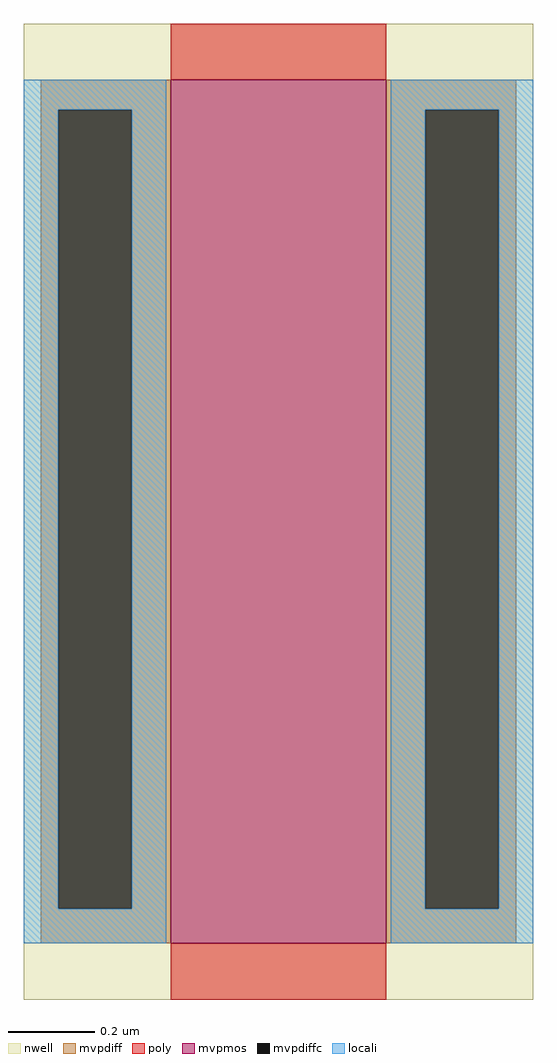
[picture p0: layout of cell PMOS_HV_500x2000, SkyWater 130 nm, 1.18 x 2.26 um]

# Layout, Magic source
magic
tech sky130A
<< nwell >>
rect -287 -21 -169 205
<< mvpmos >>
rect -253 -8 -203 192
<< mvpdiff >>
rect -283 185 -253 192
rect -283 0 -279 185
rect -262 0 -253 185
rect -283 -8 -253 0
rect -203 185 -173 192
rect -203 0 -194 185
rect -177 0 -173 185
rect -203 -8 -173 0
<< mvpdiffc >>
rect -279 0 -262 185
rect -194 0 -177 185
<< poly >>
rect -253 192 -203 205
rect -253 -21 -203 -8
<< locali >>
rect -287 185 -254 192
rect -287 0 -279 185
rect -262 0 -254 185
rect -287 -8 -254 0
rect -202 185 -169 192
rect -202 0 -194 185
rect -177 0 -169 185
rect -202 -8 -169 0
<< end >>
